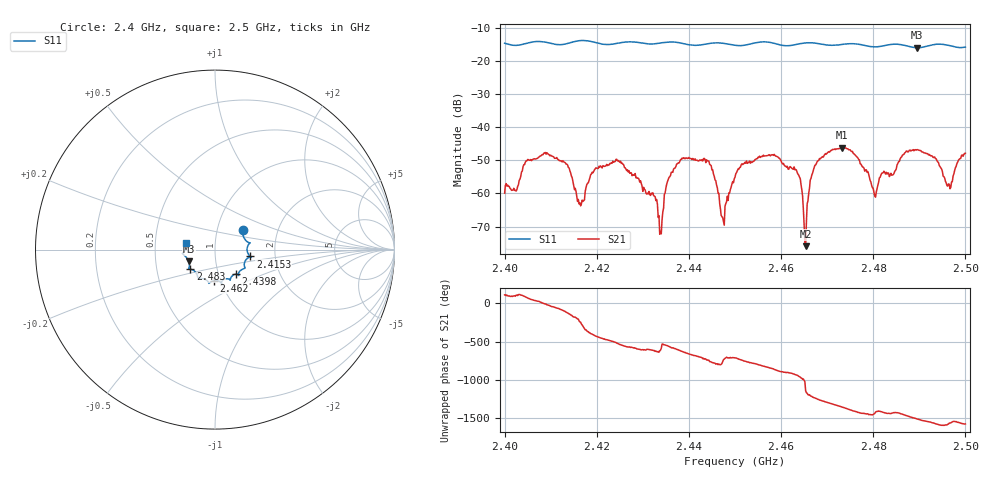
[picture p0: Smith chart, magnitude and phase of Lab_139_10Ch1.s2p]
# Hz S RI R 50
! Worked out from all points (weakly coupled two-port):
!   601 points, 2.4 GHz to 2.5 GHz, reference 50 ohm
!   highest |S21| = -46.16 dB at 2.4732 GHz (marker M1); lowest = -75.9 dB at 2.4653 GHz (marker M2)
!   lowest |S11| = -15.9 dB at 2.4895 GHz (marker M3), VSWR 1.38, Z = 36.9 - j4.99 ohm
!   |S11| at or under -10 dB: start of sweep to end of sweep
!   S12 and S22 are empty: the file has one direction only
!   S11 on the Smith chart (normalised r, x): 2.4 GHz: 1.33, +0.29; 2.4153 GHz: 1.48, -0.12; 2.4398 GHz: 1.21, -0.34; 2.462 GHz: 0.93, -0.33; 2.483 GHz: 0.74, -0.17; 2.5 GHz: 0.72, +0.06
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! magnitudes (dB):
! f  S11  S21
! 2.4 GHz  -14.5  -59.9
! 2.409 GHz  -14.2  -48.1
! 2.4153 GHz  -14.0  -58.4
! 2.4167 GHz  -13.7  -63.1
! 2.4193 GHz  -14.2  -53.3
! 2.4247 GHz  -14.5  -50.0
! 2.4333 GHz  -14.6  -67.3
! 2.4398 GHz  -15.0  -49.3
! 2.4443 GHz  -14.6  -50.2
! 2.4473 GHz  -14.5  -67.3
! 2.45 GHz  -15.1  -55.1
! 2.462 GHz  -15.2  -51.9
! 2.4638 GHz  -14.7  -54.5
! 2.4653 GHz  -14.4  -75.9
! 2.4667 GHz  -14.4  -54.4
! 2.4732 GHz  -14.9  -46.2
! 2.4802 GHz  -15.6  -59.8
! 2.483 GHz  -15.1  -54.1
! 2.4833 GHz  -15.0  -53.8
! 2.4895 GHz  -15.9  -46.7
! 2.4963 GHz  -15.2  -57.1
! 2.5 GHz  -15.7  -47.9
